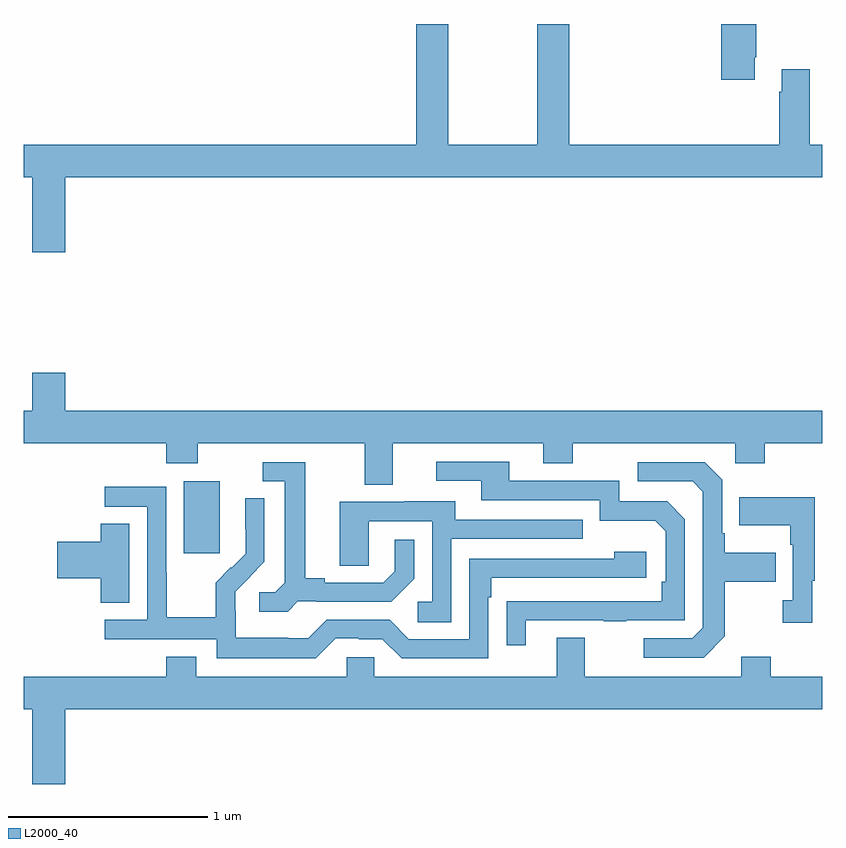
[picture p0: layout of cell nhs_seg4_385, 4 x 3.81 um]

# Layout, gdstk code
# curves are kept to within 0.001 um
import gdstk
lib = gdstk.Library(unit=1e-6, precision=1e-09)
def R(c, l, rs):  # rectangles x0, y0, x1, y1
    for r in rs: c.add(gdstk.rectangle(r[:2], r[2:], *l))
def P(c, l, *ps):  # polygons
    for p in ps: c.add(gdstk.Polygon(p, *l))
L2000_40 = (2000, 40)

nhs_seg4_385 = lib.new_cell('nhs_seg4_385')
R(nhs_seg4_385, L2000_40, [(129.803,816.249,129.982,816.61)])
P(nhs_seg4_385, L2000_40, [(132.661,818.734),(132.669,818.734),(132.669,818.9),(132.494,818.9),(132.494,818.622),(132.661,818.622)],
  [(129.208,818.132),(133,818.132),(133,818.296),(132.937,818.296),(132.937,818.674),(132.797,818.674),(132.797,818.561),(132.785,818.561),(132.785,818.296),(131.732,818.296),(131.732,818.9),(131.572,818.9),(131.572,818.296),(131.127,818.296),(131.127,818.9),(130.967,818.9),(130.967,818.296),(129,818.296),(129,818.132),(129.044,818.132),(129.044,817.758),(129.208,817.758)],
  [(130.849,816.8),(131.603,816.8),(131.603,816.701),(131.751,816.701),(131.751,816.8),(132.564,816.8),(132.564,816.701),(132.711,816.701),(132.711,816.8),(133,816.8),(133,816.964),(129.208,816.964),(129.208,817.153),(129.044,817.153),(129.044,816.964),(129,816.964),(129,816.8),(129.713,816.8),(129.713,816.701),(129.873,816.701),(129.873,816.8),(130.709,816.8),(130.709,816.592),(130.849,816.592)],
  [(131.515,815.913),(131.905,815.913),(131.905,815.908),(132.017,815.908),(132.017,815.913),(132.312,815.913),(132.312,816.42),(132.222,816.51),(131.982,816.51),(131.982,816.612),(131.431,816.612),(131.431,816.708),(131.067,816.708),(131.067,816.612),(131.291,816.612),(131.291,816.516),(131.886,816.516),(131.886,816.413),(132.163,816.413),(132.216,816.36),(132.216,816.106),(132.196,816.106),(132.196,816.009),(131.419,816.008),(131.419,815.79),(131.515,815.79)],
  [(130.374,816.009),(130.468,816.009),(130.468,816.006),(130.84,816.006),(130.956,816.122),(130.956,816.316),(130.859,816.316),(130.859,816.159),(130.802,816.102),(130.507,816.102),(130.507,816.125),(130.411,816.125),(130.411,816.705),(130.197,816.705),(130.197,816.609),(130.307,816.609),(130.307,816.101),(130.26,816.054),(130.179,816.054),(130.179,815.957),(130.322,815.957)],
  [(132.511,815.833),(132.511,816.106),(132.767,816.106),(132.767,816.253),(132.511,816.253),(132.511,816.349),(132.498,816.349),(132.498,816.618),(132.411,816.705),(132.075,816.705),(132.075,816.609),(132.351,816.609),(132.402,816.558),(132.402,815.877),(132.348,815.823),(132.105,815.823),(132.105,815.727),(132.405,815.727)],
  [(130.563,815.823),(130.679,815.823),(130.679,815.82),(130.797,815.82),(130.893,815.724),(131.328,815.724),(131.328,816.029),(131.341,816.029),(131.341,816.126),(132.118,816.126),(132.118,816.256),(131.957,816.256),(131.957,816.222),(131.232,816.222),(131.232,815.82),(130.929,815.82),(130.833,815.916),(130.518,815.916),(130.425,815.823),(130.325,815.823),(130.325,815.827),(130.062,815.827),(130.062,815.961),(130.06,815.961),(130.06,816.058),(130.206,816.206),(130.206,816.524),(130.11,816.524),(130.11,816.37),(130.112,816.37),(130.112,816.248),(130.041,816.177),(130.038,816.18),(129.961,816.103),(129.961,815.929),(129.717,815.929),(129.717,816.152),(129.714,816.152),(129.714,816.582),(129.405,816.582),(129.405,816.483),(129.618,816.483),(129.618,815.916),(129.405,815.916),(129.405,815.82),(129.966,815.82),(129.966,815.723),(130.463,815.723)],
  [(132.949,816.113),(132.961,816.113),(132.961,816.529),(132.583,816.529),(132.583,816.389),(132.84,816.389),(132.84,816.293),(132.852,816.293),(132.852,816.014),(132.801,816.014),(132.801,815.901),(132.949,815.901)],
  [(131.142,816.321),(131.801,816.321),(131.801,816.417),(131.161,816.417),(131.161,816.511),(130.907,816.511),(130.907,816.507),(130.583,816.507),(130.583,816.187),(130.728,816.187),(130.728,816.411),(131.046,816.411),(131.046,816.006),(130.974,816.006),(130.974,815.905),(131.142,815.905)],
  [(129.529,816.398),(129.386,816.398),(129.386,816.308),(129.168,816.308),(129.168,816.125),(129.386,816.125),(129.386,816.001),(129.529,816.001)],
  [(129.208,815.468),(133,815.468),(133,815.632),(132.741,815.632),(132.741,815.731),(132.593,815.731),(132.593,815.632),(131.809,815.632),(131.809,815.827),(131.669,815.827),(131.669,815.632),(130.755,815.632),(130.755,815.73),(130.617,815.73),(130.617,815.632),(129.865,815.632),(129.865,815.731),(129.713,815.731),(129.713,815.632),(129,815.632),(129,815.468),(129.044,815.468),(129.044,815.094),(129.208,815.094)])

lib.write_gds('nhs_seg4_385.gds')
